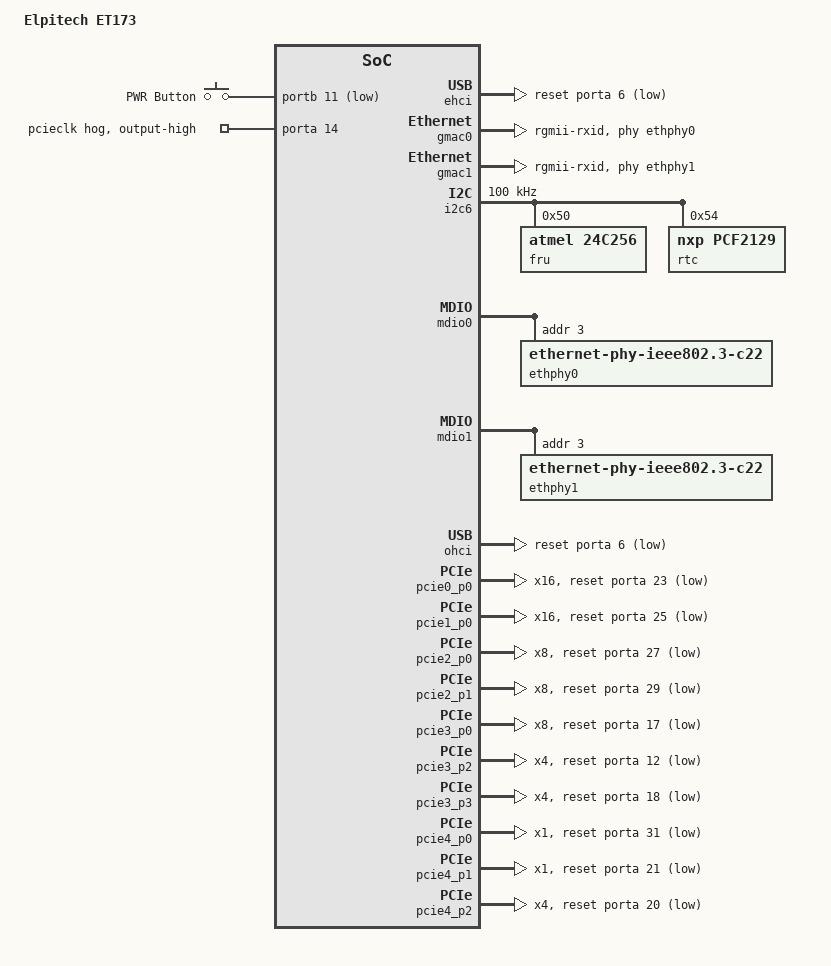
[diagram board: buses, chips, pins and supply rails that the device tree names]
// SPDX-License-Identifier: GPL-2.0
/*
 * Device tree source for Elpitech ET173 board
 * Copyright (C) 2025 Elpitech
 */

/dts-v1/;

#include "bs1000.dtsi"
#include "bs-et-common.dtsi"
#include <dt-bindings/gpio/gpio.h>
#include <dt-bindings/input/gpio-keys.h>
#include <dt-bindings/net/realtek-phy-rtl8211f.h>
#include <dt-bindings/input/linux-event-codes.h>

/ {
	model = "Elpitech ET173";
	compatible = "baikal,bs1000";

	aliases {
		ethernet0 = &gmac0;
		ethernet1 = &gmac1;
		fru = &fru;
	};

	chosen { };

	gpio-keys {
		compatible = "gpio-keys";
		pwr {
			label = "PWR Button";
			linux,code = <116>;
			gpios = <&portb 11 GPIO_ACTIVE_LOW>;
			wakeup-source;
			wakeup-event-action = <EV_ACT_DEASSERTED>;
		};
	};
};

&ehci {
	status = "okay";
	reset-gpios = <&porta 6 GPIO_ACTIVE_LOW>;
};

&gmac0 {
	status = "okay";
	snps,reset-gpios = <&portb 4 GPIO_ACTIVE_LOW>;
	snps,reset-delays-us = <10>, <10000>, <50000>;
	phy-handle = <&ethphy0>;
	phy-mode = "rgmii-rxid";
};

&gmac1 {
	status = "okay";
	snps,reset-gpios = <&portb 5 GPIO_ACTIVE_LOW>;
	snps,reset-delays-us = <10>, <10000>, <50000>;
	phy-handle = <&ethphy1>;
	phy-mode = "rgmii-rxid";
};

&i2c6 {
	status = "okay";
	clock-frequency = <100000>;

	fru: eeprom@50 {
		compatible = "atmel,24c256";
		reg = <0x50>;
	};

	rtc@54 {
		compatible = "nxp,pcf2129", "nxp,pcf2127";
		reg = <0x54>;
	};
};

&mdio0 {
	ethphy0: ethernet-phy@1 {
		compatible = "ethernet-phy-ieee802.3-c22";
		reg = <0x3>;
		realtek,led-mode = <RTL8211F_LED_MODE_B>;
		realtek,led0-control = <RTL8211F_LINK10_1000_ACT>;
		realtek,led1-control = <RTL8211F_LINK100_1000>;
	};
};

&mdio1 {
	ethphy1: ethernet-phy@1 {
		compatible = "ethernet-phy-ieee802.3-c22";
		reg = <0x3>;
		realtek,led-mode = <RTL8211F_LED_MODE_B>;
		realtek,led0-control = <RTL8211F_LINK10_1000_ACT>;
		realtek,led1-control = <RTL8211F_LINK100_1000>;
	};
};

&ohci {
	status = "okay";
	reset-gpios = <&porta 6 GPIO_ACTIVE_LOW>;
};

&pcie0_p0 {
	status = "okay";
	num-lanes = <16>;
	reset-gpios = <&porta 23 GPIO_ACTIVE_LOW>;
	cpu-addr-bits = <39>;
};

&pcie1_p0 {
	status = "okay";
	num-lanes = <16>;
	reset-gpios = <&porta 25 GPIO_ACTIVE_LOW>;
	cpu-addr-bits = <39>;
};

&pcie2_p0 {
	status = "okay";
	num-lanes = <8>;
	reset-gpios = <&porta 27 GPIO_ACTIVE_LOW>;
	cpu-addr-bits = <39>;
};

&pcie2_p1 {
	status = "okay";
	num-lanes = <8>;
	reset-gpios = <&porta 29 GPIO_ACTIVE_LOW>;
	cpu-addr-bits = <39>;
};

&pcie3_p0 {
	status = "okay";
	num-lanes = <8>;
	reset-gpios = <&porta 17 GPIO_ACTIVE_LOW>;
	cpu-addr-bits = <40>;
};

&pcie3_p2 {
	status = "okay";
	num-lanes = <4>;
	reset-gpios = <&porta 12 GPIO_ACTIVE_LOW>;
	cpu-addr-bits = <40>;
};

&pcie3_p3 {
	status = "okay";
	num-lanes = <4>;
	reset-gpios = <&porta 18 GPIO_ACTIVE_LOW>;
	cpu-addr-bits = <40>;
};

&pcie4_p0 {
	status = "okay";
	num-lanes = <1>;
	reset-gpios = <&porta 31 GPIO_ACTIVE_LOW>;
	cpu-addr-bits = <40>;
};

&pcie4_p1 {
	status = "okay";
	num-lanes = <1>;
	reset-gpios = <&porta 21 GPIO_ACTIVE_LOW>;
	cpu-addr-bits = <40>;
};

&pcie4_p2 {
	status = "okay";
	num-lanes = <4>;
	reset-gpios = <&porta 20 GPIO_ACTIVE_LOW>;
	cpu-addr-bits = <40>;
};

&porta {
	pcieclk {
		line_name = "post-complete";
		gpio-hog;
		gpios = <14 GPIO_ACTIVE_HIGH>;
		output-high;
	};
};

